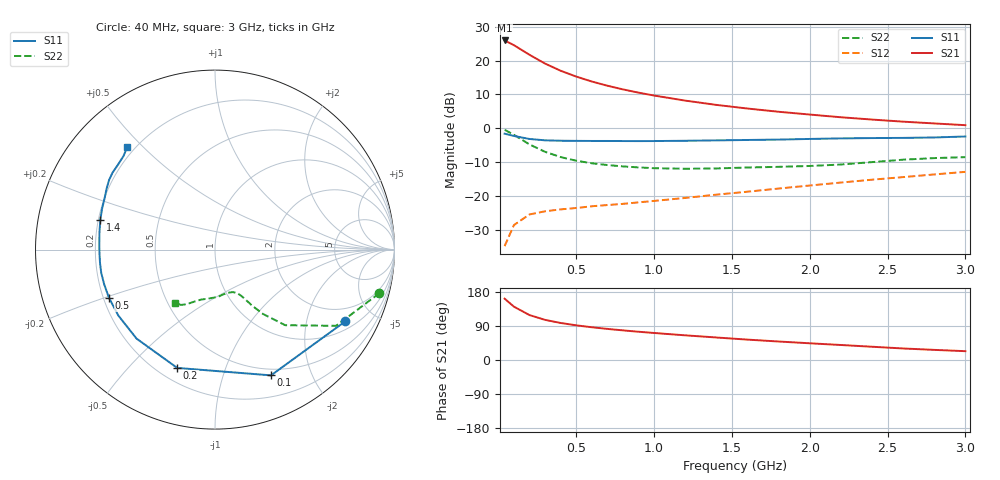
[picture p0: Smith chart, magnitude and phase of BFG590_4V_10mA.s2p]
! Filename:  BFG590A.S2P  Version:  4.0
! Philips part #: BFG590  Date: Jun 1994
! Bias condition: Vce=4V; Ic=10mA
#  MHz  S  MA  R  50
! Freq  S11  S21  S12  S22  !GUM [dB]
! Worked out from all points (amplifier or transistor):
!   21 points, 40 MHz to 3 GHz, reference 50 ohm
!   highest |S21| = 25.9 dB at 40 MHz (marker M1)
!   |S21| within 3 dB of that: start of sweep to 156.3 MHz
!   unconditionally stable (mu >= 1): 937.1 MHz to 2.294 GHz
!   at 300 MHz: K = 0.44, MSG = 21.8 dB, |S12| = -24.6 dB
!   at 1 GHz: K = 1.03, MAG = 14.5 dB, |S12| = -21.5 dB
!   at 3 GHz: K = 0.82, MSG = 6.9 dB, |S12| = -12.9 dB
!   S11 on the Smith chart (normalised r, x): 40 MHz: 1.33, -3.41; 100 MHz: 0.43, -1.45; 200 MHz: 0.27, -0.69; 500 MHz: 0.22, -0.21; 1.4 GHz: 0.21, +0.12; 3 GHz: 0.17, +0.45
40  0.829 -28.8  19.81 161.8  0.018 75.4  0.947 -14.9
100  0.767 -66.0  16.87 140.7  0.037 57.8  0.797 -32.2
200  0.692 -107.7  12.16 118.5  0.053 43.5  0.575 -47.1
300  0.661 -131.4  9.016 105.9  0.059 38.6  0.447 -53.3
400  0.652 -145.7  7.062 97.7  0.063 37.5  0.374 -56.5
500  0.649 -155.5  5.793 91.5  0.066 37.8  0.33 -58.4
600  0.647 -162.7  4.897 86.4  0.07 39.6  0.303 -59.9
700  0.647 -168.4  4.245 82.1  0.073 41.4  0.285 -61.5
800  0.645 -173.3  3.745 78.2  0.076 43.7  0.272 -63.2
900  0.644 -177.6  3.353 74.6  0.08 45.7  0.263 -65.3
1000  0.645 178.5  3.038 71.3  0.084 47.6  0.256 -67.6
1200  0.651 171.5  2.556 65.1  0.093 51.5  0.251 -73.4
1400  0.66 165.5  2.209 59.4  0.104 55.0  0.254 -79.7
1600  0.669 160.2  1.952 53.8  0.115 57.1  0.262 -85.6
1800  0.678 155.2  1.749 48.8  0.128 59.4  0.268 -91.5
2000  0.693 150.6  1.59 44.1  0.142 60.8  0.276 -98.3
2200  0.706 146.7  1.45 39.6  0.157 61.6  0.29 -105.9
2400  0.714 143.1  1.341 35.0  0.173 61.6  0.315 -112.3
2600  0.718 139.0  1.248 30.4  0.189 60.8  0.342 -117.3
2800  0.729 134.4  1.175 26.7  0.207 60.3  0.361 -121.4
3000  0.753 130.4  1.107 23.3  0.226 59.2  0.373 -126.7
